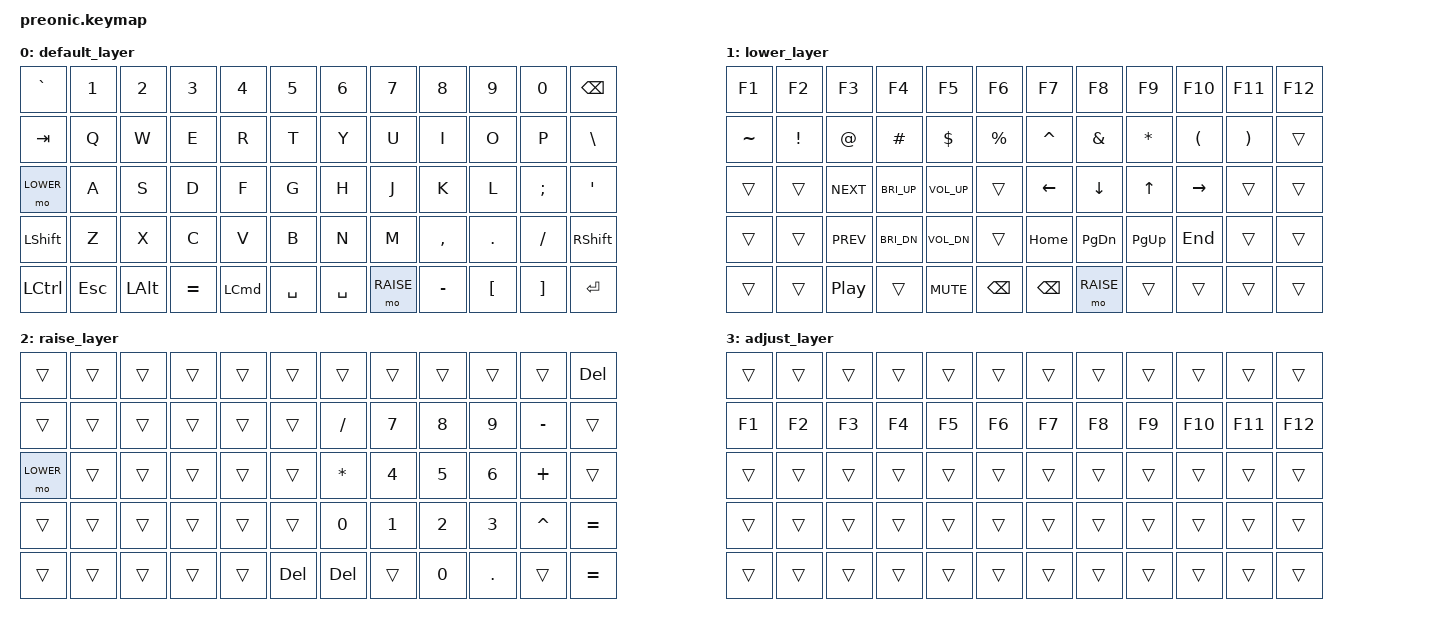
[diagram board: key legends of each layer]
/*
 * Copyright (c) 2020 The ZMK Contributors
 *
 * SPDX-License-Identifier: MIT
 */

#include <behaviors.dtsi>
#include <dt-bindings/zmk/keys.h>

#define DEFAULT 0
#define LOWER   1
#define RAISE   2
#define ADJUST  3

/ {
       // Conditional layer: When both LOWER and RAISE are active, activate ADJUST
       conditional_layers {
              compatible = "zmk,conditional-layers";
              adjust_layer {
                     if-layers = <LOWER RAISE>;
                     then-layer = <ADJUST>;
              };
       };

       keymap {
              compatible = "zmk,keymap";

              default_layer {
// -----------------------------------------------------------------------------------------
// | GRAVE  |   1    |   2    |   3    |   4    |   5    |   6    |   7    |   8    |   9    |   0    |  BSPC  |
// |  TAB   |   Q    |   W    |   E    |   R    |   T    |   Y    |   U    |   I    |   O    |   P    |  BSLH  |
// | LOWER  |   A    |   S    |   D    |   F    |   G    |   H    |   J    |   K    |   L    |   ;    |   '    |
// | SHIFT  |   Z    |   X    |   C    |   V    |   B    |   N    |   M    |   ,    |   .    |   /    |  RET   |
// | LCTRL  |  ESC   |  ALT   |  EQUAL |  LCMD  | SPACE  | SPACE  | RAISE  | MINUS  |  LBKT  |  RBKT  |  SHIFT |
                     bindings = <
       &kp GRAVE  &kp N1  &kp N2   &kp N3    &kp N4   &kp N5    &kp N6    &kp N7    &kp N8    &kp N9     &kp N0    &kp BSPC
       &kp TAB    &kp Q   &kp W    &kp E     &kp R    &kp T     &kp Y     &kp U     &kp I     &kp O      &kp P     &kp BSLH
       &mo LOWER  &kp A   &kp S    &kp D     &kp F    &kp G     &kp H     &kp J     &kp K     &kp L      &kp SEMI  &kp SQT
       &kp LSHFT  &kp Z   &kp X    &kp C     &kp V    &kp B     &kp N     &kp M     &kp COMMA &kp PERIOD &kp SLASH &kp RSHFT
       &kp LCTRL  &kp ESC &kp LALT &kp EQUAL &kp LCMD &kp SPACE &kp SPACE &mo RAISE &kp MINUS &kp LBKT   &kp RBKT  &kp RET
                     >;
              };

              lower_layer {
// -----------------------------------------------------------------------------------------
// |  F1   |  F2   |  F3   |  F4   |  F5   |  F6   |  F7   |  F8   |  F9   |  F10  | F11   | F12   |
// |  ~    |  !    |  @    |  #    |  $    |  %    |  ^    |  &    |  *    |  (    |  )    |       |
// |  ---  |       | NEXT  | BRT+  | VOL+  |       | LEFT  | DOWN  |  UP   | RIGHT |       |       |
// |       |       | PREV  | BRT-  | VOL-  |       | HOME  | PG_DN | PG_UP | END   |       |       |
// |       |       | PLAY  |       | MUTE  | BSPC  | BSPC  | RAISE |       |       |       |       |
                     bindings = <
       &kp F1    &kp F2   &kp F3     &kp F4       &kp F5       &kp F6   &kp F7    &kp F8    &kp F9    &kp F10   &kp F11  &kp F12
       &kp TILDE &kp EXCL &kp AT     &kp HASH     &kp DLLR     &kp PRCNT &kp CARET &kp AMPS  &kp ASTRK &kp LPAR  &kp RPAR &trans
       &trans    &trans   &kp C_NEXT &kp C_BRI_UP &kp C_VOL_UP &trans   &kp LEFT  &kp DOWN  &kp UP    &kp RIGHT &trans   &trans
       &trans    &trans   &kp C_PREV &kp C_BRI_DN &kp C_VOL_DN &trans   &kp HOME  &kp PG_DN &kp PG_UP &kp END   &trans   &trans
       &trans    &trans   &kp C_PP   &trans       &kp C_MUTE   &kp BSPC &kp BSPC  &mo RAISE &trans    &trans    &trans   &trans
                     >;
              };

              raise_layer {
// -----------------------------------------------------------------------------------------
// |       |       |       |       |       |       |       |       |       |       |       |  DEL  |
// |       |       |       |       |       |       |  DIV  |   7   |   8   |   9   |   -   |       |
// | LOWER |       |       |       |       |       |   *   |   4   |   5   |   6   |   +   |       |
// |       |       |       |       |       |       |   0   |   1   |   2   |   3   |   ^   |   =   |
// |       |       |       |       |       |  DEL  |  DEL  |  ---  |   0   |   .   |       |   =   |
                     bindings = <
       &trans    &trans &trans &trans &trans &trans  &trans    &trans  &trans &trans  &trans    &kp DEL
       &trans    &trans &trans &trans &trans &trans  &kp SLASH &kp N7  &kp N8 &kp N9  &kp MINUS &trans
       &mo LOWER &trans &trans &trans &trans &trans  &kp ASTRK &kp N4  &kp N5 &kp N6  &kp PLUS  &trans
       &trans    &trans &trans &trans &trans &trans  &kp N0    &kp N1  &kp N2 &kp N3  &kp CARET &kp EQUAL
       &trans    &trans &trans &trans &trans &kp DEL &kp DEL   &trans  &kp N0 &kp DOT &trans    &kp EQUAL
                     >;
              };

              adjust_layer {
// -----------------------------------------------------------------------------------------
// |       |       |       |       |       |       |       |       |       |       |       |       |
// |  F1   |  F2   |  F3   |  F4   |  F5   |  F6   |  F7   |  F8   |  F9   |  F10  |  F11  |  F12  |
// |  ---  |       |       |       |       |       |       |       |       |       |       |       |
// |       |       |       |       |       |       |       |       |       |       |       |       |
// |       |       |       |       |  ---  |       |       |  ---  |       |       |       |       |
                     bindings = <
       &trans &trans &trans &trans &trans &trans &trans &trans &trans &trans  &trans  &trans
       &kp F1 &kp F2 &kp F3 &kp F4 &kp F5 &kp F6 &kp F7 &kp F8 &kp F9 &kp F10 &kp F11 &kp F12
       &trans &trans &trans &trans &trans &trans &trans &trans &trans &trans  &trans  &trans
       &trans &trans &trans &trans &trans &trans &trans &trans &trans &trans  &trans  &trans
       &trans &trans &trans &trans &trans &trans &trans &trans &trans &trans  &trans  &trans
                     >;
              };
       };
};
